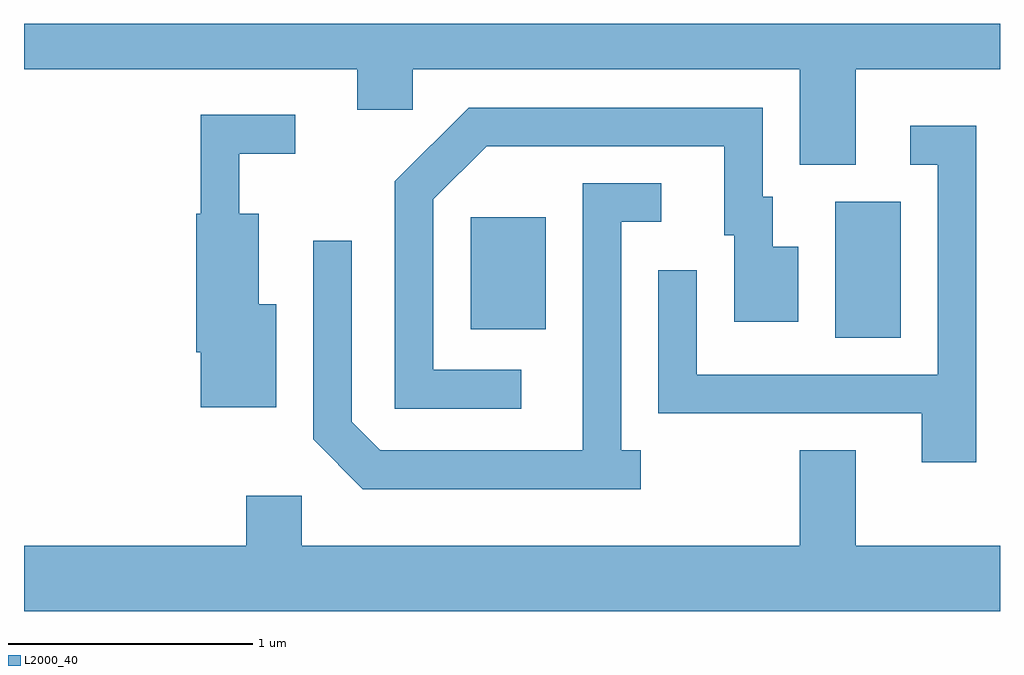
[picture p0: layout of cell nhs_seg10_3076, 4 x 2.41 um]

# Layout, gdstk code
import gdstk
lib = gdstk.Library(unit=1e-6, precision=1e-09)
def R(c, l, rs):  # rectangles x0, y0, x1, y1
    for r in rs: c.add(gdstk.rectangle(r[:2], r[2:], *l))
def P(c, l, *ps):  # polygons
    for p in ps: c.add(gdstk.Polygon(p, *l))
L2000_40 = (2000, 40)

nhs_seg10_3076 = lib.new_cell('nhs_seg10_3076')
R(nhs_seg10_3076, L2000_40, [(278.936,2137.236,279.204,2137.794), (277.441,2137.271,277.749,2137.729)])
P(nhs_seg10_3076, L2000_40, [(279.019,2138.336),(279.611,2138.336),(279.611,2138.522),(275.611,2138.522),(275.611,2138.336),(276.976,2138.336),(276.976,2138.171),(277.204,2138.171),(277.204,2138.336),(278.791,2138.336),(278.791,2137.946),(279.019,2137.946)],
  [(277.648,2137.104),(277.289,2137.104),(277.289,2137.804),(277.507,2138.021),(278.481,2138.021),(278.481,2137.656),(278.521,2137.656),(278.521,2137.301),(278.784,2137.301),(278.784,2137.609),(278.679,2137.609),(278.679,2137.814),(278.639,2137.814),(278.639,2138.179),(277.434,2138.179),(277.131,2137.877),(277.131,2136.946),(277.648,2136.946)],
  [(276.644,2137.374),(276.574,2137.374),(276.574,2137.744),(276.494,2137.744),(276.494,2137.991),(276.723,2137.991),(276.723,2138.149),(276.336,2138.149),(276.336,2137.744),(276.316,2137.744),(276.316,2137.176),(276.336,2137.176),(276.336,2136.951),(276.644,2136.951)],
  [(279.514,2138.104),(279.243,2138.104),(279.243,2137.946),(279.356,2137.946),(279.356,2137.084),(278.369,2137.084),(278.369,2137.513),(278.211,2137.513),(278.211,2136.926),(279.291,2136.926),(279.291,2136.726),(279.514,2136.726)],
  [(278.138,2136.774),(278.059,2136.774),(278.059,2137.711),(278.223,2137.711),(278.223,2137.869),(277.901,2137.869),(277.901,2136.774),(277.072,2136.774),(276.954,2136.892),(276.954,2137.633),(276.796,2137.633),(276.796,2136.819),(276.999,2136.616),(278.138,2136.616)],
  [(279.611,2136.384),(279.019,2136.384),(279.019,2136.774),(278.791,2136.774),(278.791,2136.384),(276.749,2136.384),(276.749,2136.589),(276.521,2136.589),(276.521,2136.384),(275.611,2136.384),(275.611,2136.116),(279.611,2136.116)])

lib.write_gds('nhs_seg10_3076.gds')
